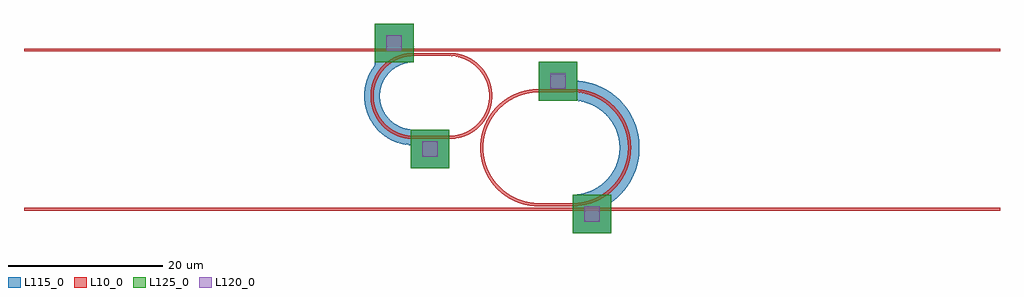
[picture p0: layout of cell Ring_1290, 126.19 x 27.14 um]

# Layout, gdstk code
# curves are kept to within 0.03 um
from math import pi, radians
import gdstk
lib = gdstk.Library(unit=1e-6, precision=1e-09)
def R(c, l, rs):  # rectangles x0, y0, x1, y1
    for r in rs: c.add(gdstk.rectangle(r[:2], r[2:], *l))
def P(c, l, *ps):  # polygons
    for p in ps: c.add(gdstk.Polygon(p, *l))
L10_0 = (10, 0)
L115_0 = (115, 0)
L120_0 = (120, 0)
L125_0 = (125, 0)

unnamed_7 = lib.new_cell('Unnamed_7')
P(unnamed_7, L115_0, [(5.191,-12.498),(4.606,-12.463),(4.014,-12.363),(3.294,-12.162),(2.751,-11.951),(2.186,-11.654),(1.64,-11.298),(1.18,-10.948),(0.759,-10.55),(-0.053,-9.518),(-0.599,-8.39),(-0.929,-7.153),(-1,-5.931),(-0.964,-5.367),(-0.864,-4.779),(-0.658,-4.046),(-0.465,-3.548),(0.009,-2.653),(0.513,-1.994),(0.924,-1.552),(1.386,-1.153),(1.99,-0.735),(2.95,-0.232),(4.202,0.134),(4.769,0.211),(5.364,0.23),(5.364,-1.772),(4.653,-1.838),(4.006,-1.987),(3.485,-2.202),(3.028,-2.463),(2.643,-2.727),(2.132,-3.215),(1.687,-3.791),(1.496,-4.129),(1.193,-4.858),(1.02,-5.799),(1.034,-6.605),(1.225,-7.516),(1.687,-8.477),(2.28,-9.21),(2.732,-9.612),(3.028,-9.805),(3.485,-10.066),(3.988,-10.275),(4.611,-10.423),(5.309,-10.496),(9.975,-10.496),(9.975,-12.498)])

bend_circular_gdsfactory = lib.new_cell('bend_circular_gdsfactorypcomponentspbendspbend_circular_4529845d')
P(bend_circular_gdsfactory, L10_0, [(0,-0.19),(0,0.19),(0.677,0.234),(1.325,0.362),(1.955,0.573),(2.581,0.879),(3.087,1.211),(3.572,1.62),(3.98,2.057),(4.342,2.551),(4.789,2.551),(4.373,1.939),(3.882,1.391),(3.343,0.928),(2.766,0.547),(2.13,0.234),(1.461,0.005),(0.725,-0.143)],
  [(4.343,2.551),(4.699,3.197),(4.956,3.876),(5.117,4.595),(5.173,5.291),(5.554,5.292),(5.424,4.167),(5.07,3.095),(4.789,2.551)],
  [(5.174,5.292),(5.133,6.018),(4.986,6.748),(4.739,7.442),(4.389,8.105),(4.831,8.105),(5.117,7.525),(5.351,6.854),(5.505,6.104),(5.554,5.292)],
  [(4.388,8.105),(4.034,8.605),(3.666,9.016),(2.801,9.715),(2.143,10.074),(1.444,10.333),(0.707,10.49),(0,10.538),(0,10.918),(0.79,10.862),(1.56,10.695),(2.324,10.409),(3.006,10.035),(3.831,9.386),(4.526,8.584),(4.831,8.105)])

unnamed_8 = lib.new_cell('Unnamed_8')
R(unnamed_8, L10_0, [(5.364,-11.688,9.975,-11.308), (5.364,-0.96,9.975,-0.58)])
unnamed_8.add(gdstk.Reference(bend_circular_gdsfactory, (5.364,-11.498), rotation=pi, x_reflection=True))
unnamed_8.add(gdstk.Reference(bend_circular_gdsfactory, (9.975,-11.498)))

unnamed_16 = lib.new_cell('Unnamed_16')
P(unnamed_16, L115_0, [(25.923,-21.478),(25.923,-18.913),(27.193,-18.78),(28.293,-18.43),(28.77,-18.206),(29.354,-17.849),(30.194,-17.165),(30.561,-16.768),(30.994,-16.189),(31.51,-15.241),(31.888,-14.055),(32.013,-12.836),(31.888,-11.591),(31.51,-10.405),(30.994,-9.457),(30.561,-8.878),(30.219,-8.506),(29.354,-7.797),(28.77,-7.44),(28.293,-7.216),(27.193,-6.866),(25.923,-6.733),(25.923,-4.168),(26.143,-4.168),(26.996,-4.226),(27.913,-4.397),(28.61,-4.585),(29.404,-4.894),(30.07,-5.215),(30.833,-5.678),(31.605,-6.283),(32.237,-6.887),(32.891,-7.688),(33.394,-8.434),(34.029,-9.762),(34.267,-10.494),(34.475,-11.442),(34.567,-12.273),(34.577,-13.107),(34.506,-14.002),(34.332,-14.894),(34.129,-15.607),(33.865,-16.279),(33.491,-17.043),(33.072,-17.708),(32.486,-18.478),(31.964,-19.037),(30.833,-19.968),(30.003,-20.467),(29.141,-20.867),(28.378,-21.132),(27.456,-21.348),(26.665,-21.454)])

c_bend_circular_gdsfactory = lib.new_cell('bend_circular_gdsfactorypcomponentspbendspbend_circular_d377f0d5')
P(c_bend_circular_gdsfactory, L10_0, [(3.781,0.823),(3.781,1.266),(4.488,1.764),(5.159,2.374),(5.738,3.051),(6.217,3.774),(6.636,4.622),(6.92,5.445),(7.113,6.369),(7.182,7.288),(7.563,7.289),(7.494,6.35),(7.288,5.35),(6.965,4.424),(6.535,3.565),(5.981,2.743),(5.297,1.974),(4.554,1.334)],
  [(0,-0.19),(0,0.19),(0.997,0.259),(1.946,0.458),(2.905,0.803),(3.781,1.266),(3.781,0.823),(2.685,0.302),(2.012,0.082),(1.372,-0.065),(0.711,-0.157)],
  [(7.183,7.289),(7.142,8.144),(6.995,9.008),(6.754,9.82),(6.391,10.653),(5.882,11.497),(5.266,12.259),(4.561,12.923),(3.781,13.48),(3.781,13.923),(4.667,13.325),(5.464,12.603),(6.167,11.752),(6.735,10.815),(7.239,9.565),(7.507,8.296),(7.563,7.289)],
  [(3.781,13.48),(2.905,13.943),(1.946,14.288),(0.997,14.487),(0,14.556),(0,14.936),(0.711,14.903),(1.372,14.811),(2.012,14.664),(2.685,14.444),(3.781,13.923)])

unnamed_17 = lib.new_cell('Unnamed_17')
R(unnamed_17, L10_0, [(21.56,-20.386,25.923,-20.006), (21.56,-5.64,25.923,-5.26)])
unnamed_17.add(gdstk.Reference(c_bend_circular_gdsfactory, (21.56,-20.196), rotation=pi, x_reflection=True))
unnamed_17.add(gdstk.Reference(c_bend_circular_gdsfactory, (25.923,-20.196)))

ring_1290 = lib.new_cell('Ring_1290')
R(ring_1290, L10_0, [(-45,-20.966,81.193,-20.586), (-45,-0.38,81.193,0)])
R(ring_1290, L115_0, [(25.923,-23.913,30.923,-18.913), (4.975,-15.498,9.975,-10.498), (21.56,-6.732,25.923,-4.167), (21.56,-6.732,26.56,-1.732), (0.364,-2.77,1.364,-1.77), (0.364,-1.77,5.364,3.23)])
R(ring_1290, L120_0, [(27.423,-22.413,29.423,-20.413), (6.475,-13.998,8.475,-11.998), (23.06,-5.232,25.06,-3.232), (1.864,-0.27,3.864,1.73)])
R(ring_1290, L125_0, [(25.923,-23.913,30.923,-18.913), (4.975,-15.498,9.975,-10.498), (21.56,-6.732,26.56,-1.732), (0.364,-1.77,5.364,3.23)])
ring_1290.add(gdstk.Reference(unnamed_7, (0,0)))
ring_1290.add(gdstk.Reference(unnamed_8, (0,0)))
ring_1290.add(gdstk.Reference(unnamed_16, (0,0)))
ring_1290.add(gdstk.Reference(unnamed_17, (0,0)))

lib.write_gds('Ring_1290.gds')
